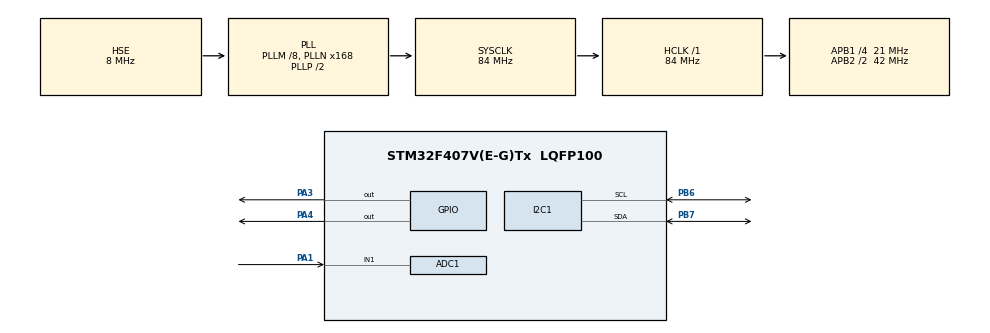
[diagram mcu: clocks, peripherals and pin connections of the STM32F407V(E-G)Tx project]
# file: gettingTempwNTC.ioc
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ADC1.Channel-0\#ChannelRegularConversion=ADC_CHANNEL_1
ADC1.ContinuousConvMode=ENABLE
ADC1.NbrOfConversionFlag=1
ADC1.Rank-0\#ChannelRegularConversion=1
ADC1.SamplingTime-0\#ChannelRegularConversion=ADC_SAMPLETIME_56CYCLES
ADC1.master=1
Mcu.Family=STM32F4
Mcu.Name=STM32F407V(E-G)Tx
Mcu.Package=LQFP100
NVIC.PriorityGroup=NVIC_PRIORITYGROUP_4
NVIC.TIM1_UP_TIM10_IRQn=true\:0\:0\:false\:false\:true\:true\:true\:true
PA1.Signal=ADCx_IN1
PA13.Mode=Serial_Wire
PA13.Signal=SYS_JTMS-SWDIO
PA14.Mode=Serial_Wire
PA14.Signal=SYS_JTCK-SWCLK
PA3.Signal=GPIO_Output
PA4.Signal=GPIO_Output
PB6.Mode=I2C
PB6.Signal=I2C1_SCL
PB7.Mode=I2C
PB7.Signal=I2C1_SDA
PH0-OSC_IN.Mode=HSE-External-Oscillator
PH0-OSC_IN.Signal=RCC_OSC_IN
PH1-OSC_OUT.Mode=HSE-External-Oscillator
PH1-OSC_OUT.Signal=RCC_OSC_OUT
ProjectManager.HeapSize=0x200
ProjectManager.StackSize=0x400
ProjectManager.TargetToolchain=STM32CubeIDE
RCC.48MHZClocksFreq_Value=42000000
RCC.AHBFreq_Value=84000000
RCC.APB1CLKDivider=RCC_HCLK_DIV4
RCC.APB1Freq_Value=21000000
RCC.APB1TimFreq_Value=42000000
RCC.APB2CLKDivider=RCC_HCLK_DIV2
RCC.APB2Freq_Value=42000000
RCC.APB2TimFreq_Value=84000000
RCC.CortexFreq_Value=84000000
RCC.HCLKFreq_Value=84000000
RCC.HSE_VALUE=8000000
RCC.HSI_VALUE=16000000
RCC.LSE_VALUE=32768
RCC.PLLM=8
RCC.PLLN=168
RCC.PLLSourceVirtual=RCC_PLLSOURCE_HSE
RCC.SYSCLKFreq_VALUE=84000000
RCC.SYSCLKSource=RCC_SYSCLKSOURCE_PLLCLK
RCC.VCOOutputFreq_Value=168000000
SH.ADCx_IN1.0=ADC1_IN1,IN1
TIM1.Period=999
TIM1.Prescaler=7999
VP_TIM1_VS_ClockSourceINT.Mode=Internal
board=custom

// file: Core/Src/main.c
/* USER CODE BEGIN Header */
/**
 ******************************************************************************
 * @file           : main.c
 * @brief          : Main program body
 * @user 		   : Omer Kutur
 ******************************************************************************
 * @attention
 *
 * Copyright (c) 2024 STMicroelectronics.
 * All rights reserved.
 *
 * This software is licensed under terms that can be found in the LICENSE file
 * in the root directory of this software component.
 * If no LICENSE file comes with this software, it is provided AS-IS.
 * --------------------------------------------------------------------------
 * 10K RESISTOR AND 10K NTC WAS USED FOR THIS PROJECT.
 * BUT STILL THERE ARE SOME OPTIMIZATION PROBLEMS WITH THE FLOAT NUMBERS
 * ALSO THERE IS LCD TO CHECK THE OUTPUT FASTER ON IT
 * I2C WAS ALSO USED FOR THE COMMUNICATION AND EXTERNAL I2C LCD MODULE WITH IT
 ******************************************************************************
 */
/* USER CODE END Header */
#include "main.h"

/* USER CODE BEGIN Includes */
#include <math.h>
#include <i2c-lcd.h>
/* USER CODE END Includes */

/* USER CODE BEGIN PM */
uint16_t adc_raw;
double temp;
//double a, b, c, temp, temperature = 0;
//
//float R = 0, gerilim = 0;
uint8_t tempA, tempB = 0, tempC, tempD = 0;
/* USER CODE END PM */

ADC_HandleTypeDef hadc1;

I2C_HandleTypeDef hi2c1;

TIM_HandleTypeDef htim1;

void SystemClock_Config(void);
static void MX_GPIO_Init(void);
static void MX_ADC1_Init(void);
static void MX_I2C1_Init(void);
static void MX_TIM1_Init(void);
/* USER CODE BEGIN PFP */

double termistor(int adcValue) {
	double temperature;
	temperature = log(((40950000 / adcValue) - 10000));
	temperature = 1
			/ (0.001179148
					+ (0.000234125
							+ (0.0000000876741 * temperature * temperature))
							* temperature);
	temperature = temperature - 273.15;
	return temperature;
}
/* USER CODE END PFP */

int main(void)
{

  /* MCU Configuration--------------------------------------------------------*/

  /* Reset of all peripherals, Initializes the Flash interface and the Systick. */
  HAL_Init();

  /* Configure the system clock */
  SystemClock_Config();

  /* Initialize all configured peripherals */
  MX_GPIO_Init();
  MX_ADC1_Init();
  MX_I2C1_Init();
  MX_TIM1_Init();
  /* USER CODE BEGIN 2 */

	lcd_init();
	lcd_clear();
//
//	a = 0.0004039489612;
//	b = 0.0003617756034;
//	c = -0.0000005190100184;

  /* USER CODE END 2 */

  /* Infinite loop */
	while (1) {

    /* USER CODE BEGIN 3 */
		HAL_ADC_Start(&hadc1);
		HAL_ADC_PollForConversion(&hadc1, 1000);
		adc_raw = HAL_ADC_GetValue(&hadc1);
		HAL_ADC_Stop(&hadc1);
		temp = termistor(adc_raw);
		HAL_Delay(100);

//		gerilim = (adc_raw * 3.3) / 4095;
//		R = (33000 / gerilim) - 10000;
//		temperature = a + b * (log(R)) + (c * (log(R)) * (log(R)) * (log(R)));
//		temp = 1 / temperature;
//		temp = temp - 273.15;

		tempA = temp / 10;
		tempB = temp - tempA * 10;
		tempC = (temp - (tempA * 10) - tempB) * 10;
		tempD = ((temp - (tempA * 10) - tempB) * 100) - (tempC * 10);

		lcd_put_cur(0, 0);
		lcd_send_data(tempA + 48);
		HAL_Delay(100);

		lcd_put_cur(0, 1);
		lcd_send_data(tempB + 48);
		HAL_Delay(100);

		lcd_put_cur(0, 2);
		lcd_send_string(",");
		HAL_Delay(100);

		lcd_put_cur(0, 3);
		lcd_send_data(tempC + 48);
		HAL_Delay(100);

		lcd_put_cur(0, 4);
		lcd_send_data(tempD + 48);
		HAL_Delay(200);

	}
  /* USER CODE END 3 */
}

void SystemClock_Config(void)
{
  RCC_OscInitTypeDef RCC_OscInitStruct = {0};
  RCC_ClkInitTypeDef RCC_ClkInitStruct = {0};

  /** Configure the main internal regulator output voltage
  */
  __HAL_RCC_PWR_CLK_ENABLE();
  __HAL_PWR_VOLTAGESCALING_CONFIG(PWR_REGULATOR_VOLTAGE_SCALE1);

  /** Initializes the RCC Oscillators according to the specified parameters
  * in the RCC_OscInitTypeDef structure.
  */
  RCC_OscInitStruct.OscillatorType = RCC_OSCILLATORTYPE_HSE;
  RCC_OscInitStruct.HSEState = RCC_HSE_ON;
  RCC_OscInitStruct.PLL.PLLState = RCC_PLL_ON;
  RCC_OscInitStruct.PLL.PLLSource = RCC_PLLSOURCE_HSE;
  RCC_OscInitStruct.PLL.PLLM = 8;
  RCC_OscInitStruct.PLL.PLLN = 168;
  RCC_OscInitStruct.PLL.PLLP = RCC_PLLP_DIV2;
  RCC_OscInitStruct.PLL.PLLQ = 4;
  if (HAL_RCC_OscConfig(&RCC_OscInitStruct) != HAL_OK)
  {
    Error_Handler();
  }

  /** Initializes the CPU, AHB and APB buses clocks
  */
  RCC_ClkInitStruct.ClockType = RCC_CLOCKTYPE_HCLK|RCC_CLOCKTYPE_SYSCLK
                              |RCC_CLOCKTYPE_PCLK1|RCC_CLOCKTYPE_PCLK2;
  RCC_ClkInitStruct.SYSCLKSource = RCC_SYSCLKSOURCE_PLLCLK;
  RCC_ClkInitStruct.AHBCLKDivider = RCC_SYSCLK_DIV1;
  RCC_ClkInitStruct.APB1CLKDivider = RCC_HCLK_DIV4;
  RCC_ClkInitStruct.APB2CLKDivider = RCC_HCLK_DIV2;

  if (HAL_RCC_ClockConfig(&RCC_ClkInitStruct, FLASH_LATENCY_2) != HAL_OK)
  {
    Error_Handler();
  }
}

static void MX_ADC1_Init(void)
{

  ADC_ChannelConfTypeDef sConfig = {0};

  /** Configure the global features of the ADC (Clock, Resolution, Data Alignment and number of conversion)
  */
  hadc1.Instance = ADC1;
  hadc1.Init.ClockPrescaler = ADC_CLOCK_SYNC_PCLK_DIV2;
  hadc1.Init.Resolution = ADC_RESOLUTION_12B;
  hadc1.Init.ScanConvMode = DISABLE;
  hadc1.Init.ContinuousConvMode = ENABLE;
  hadc1.Init.DiscontinuousConvMode = DISABLE;
  hadc1.Init.ExternalTrigConvEdge = ADC_EXTERNALTRIGCONVEDGE_NONE;
  hadc1.Init.ExternalTrigConv = ADC_SOFTWARE_START;
  hadc1.Init.DataAlign = ADC_DATAALIGN_RIGHT;
  hadc1.Init.NbrOfConversion = 1;
  hadc1.Init.DMAContinuousRequests = DISABLE;
  hadc1.Init.EOCSelection = ADC_EOC_SINGLE_CONV;
  if (HAL_ADC_Init(&hadc1) != HAL_OK)
  {
    Error_Handler();
  }

  /** Configure for the selected ADC regular channel its corresponding rank in the sequencer and its sample time.
  */
  sConfig.Channel = ADC_CHANNEL_1;
  sConfig.Rank = 1;
  sConfig.SamplingTime = ADC_SAMPLETIME_56CYCLES;
  if (HAL_ADC_ConfigChannel(&hadc1, &sConfig) != HAL_OK)
  {
    Error_Handler();
  }

}

static void MX_I2C1_Init(void)
{

  hi2c1.Instance = I2C1;
  hi2c1.Init.ClockSpeed = 100000;
  hi2c1.Init.DutyCycle = I2C_DUTYCYCLE_2;
  hi2c1.Init.OwnAddress1 = 0;
  hi2c1.Init.AddressingMode = I2C_ADDRESSINGMODE_7BIT;
  hi2c1.Init.DualAddressMode = I2C_DUALADDRESS_DISABLE;
  hi2c1.Init.OwnAddress2 = 0;
  hi2c1.Init.GeneralCallMode = I2C_GENERALCALL_DISABLE;
  hi2c1.Init.NoStretchMode = I2C_NOSTRETCH_DISABLE;
  if (HAL_I2C_Init(&hi2c1) != HAL_OK)
  {
    Error_Handler();
  }

}

static void MX_TIM1_Init(void)
{

  TIM_ClockConfigTypeDef sClockSourceConfig = {0};
  TIM_MasterConfigTypeDef sMasterConfig = {0};

  htim1.Instance = TIM1;
  htim1.Init.Prescaler = 7999;
  htim1.Init.CounterMode = TIM_COUNTERMODE_UP;
  htim1.Init.Period = 999;
  htim1.Init.ClockDivision = TIM_CLOCKDIVISION_DIV1;
  htim1.Init.RepetitionCounter = 0;
  htim1.Init.AutoReloadPreload = TIM_AUTORELOAD_PRELOAD_DISABLE;
  if (HAL_TIM_Base_Init(&htim1) != HAL_OK)
  {
    Error_Handler();
  }
  sClockSourceConfig.ClockSource = TIM_CLOCKSOURCE_INTERNAL;
  if (HAL_TIM_ConfigClockSource(&htim1, &sClockSourceConfig) != HAL_OK)
  {
    Error_Handler();
  }
  sMasterConfig.MasterOutputTrigger = TIM_TRGO_RESET;
  sMasterConfig.MasterSlaveMode = TIM_MASTERSLAVEMODE_DISABLE;
  if (HAL_TIMEx_MasterConfigSynchronization(&htim1, &sMasterConfig) != HAL_OK)
  {
    Error_Handler();
  }

}

static void MX_GPIO_Init(void)
{
  GPIO_InitTypeDef GPIO_InitStruct = {0};

  /* GPIO Ports Clock Enable */
  __HAL_RCC_GPIOH_CLK_ENABLE();
  __HAL_RCC_GPIOA_CLK_ENABLE();
  __HAL_RCC_GPIOB_CLK_ENABLE();

  /*Configure GPIO pin Output Level */
  HAL_GPIO_WritePin(GPIOA, GPIO_PIN_3|GPIO_PIN_4, GPIO_PIN_RESET);

  /*Configure GPIO pins : PA3 PA4 */
  GPIO_InitStruct.Pin = GPIO_PIN_3|GPIO_PIN_4;
  GPIO_InitStruct.Mode = GPIO_MODE_OUTPUT_PP;
  GPIO_InitStruct.Pull = GPIO_NOPULL;
  GPIO_InitStruct.Speed = GPIO_SPEED_FREQ_LOW;
  HAL_GPIO_Init(GPIOA, &GPIO_InitStruct);

}

void Error_Handler(void)
{
	__disable_irq();
	while (1) {
	}
}
